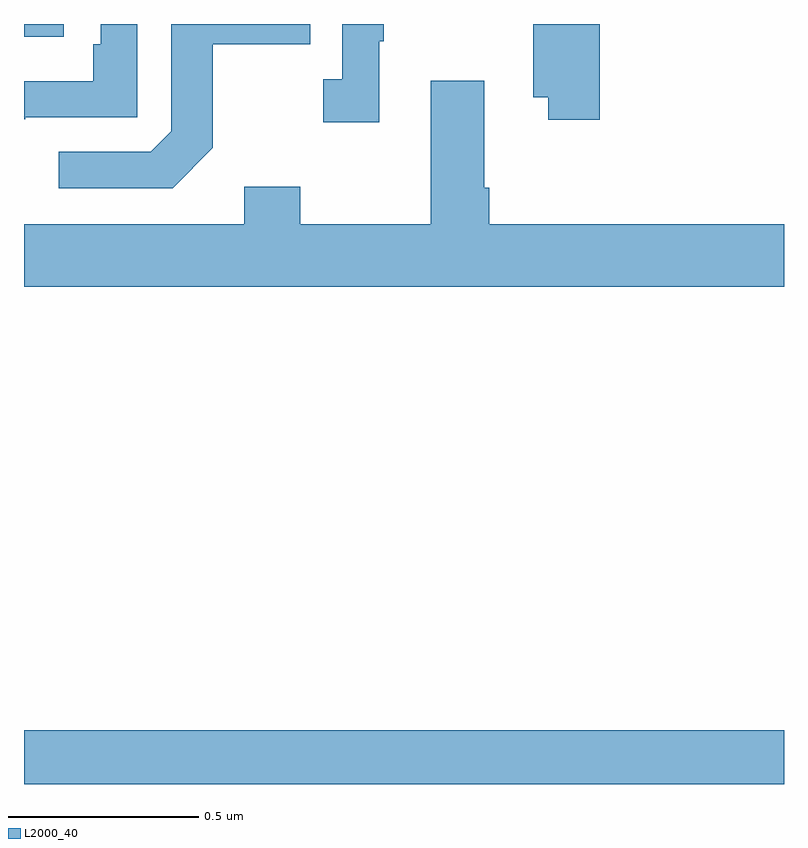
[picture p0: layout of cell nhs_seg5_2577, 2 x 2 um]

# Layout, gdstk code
import gdstk
lib = gdstk.Library(unit=1e-6, precision=1e-09)
def R(c, l, rs):  # rectangles x0, y0, x1, y1
    for r in rs: c.add(gdstk.rectangle(r[:2], r[2:], *l))
def P(c, l, *ps):  # polygons
    for p in ps: c.add(gdstk.Polygon(p, *l))
L2000_40 = (2000, 40)

nhs_seg5_2577 = lib.new_cell('nhs_seg5_2577')
R(nhs_seg5_2577, L2000_40, [(146,840.799,148,840.94), (146,842.766,146.104,842.799)])
P(nhs_seg5_2577, L2000_40, [(147.515,842.799),(147.34,842.799),(147.34,842.606),(147.38,842.606),(147.38,842.547),(147.515,842.547)],
  [(146.935,842.753),(146.947,842.753),(146.947,842.799),(146.838,842.799),(146.838,842.654),(146.787,842.654),(146.787,842.541),(146.935,842.541)],
  [(146.003,842.553),(146.298,842.553),(146.298,842.799),(146.202,842.799),(146.202,842.746),(146.182,842.746),(146.182,842.649),(146,842.649),(146,842.548),(146.003,842.548)],
  [(146.497,842.473),(146.497,842.746),(146.753,842.746),(146.753,842.799),(146.388,842.799),(146.388,842.517),(146.334,842.463),(146.091,842.463),(146.091,842.367),(146.391,842.367)],
  [(146.579,842.371),(146.579,842.272),(146,842.272),(146,842.108),(148,842.108),(148,842.272),(147.224,842.272),(147.224,842.368),(147.211,842.368),(147.211,842.65),(147.071,842.65),(147.071,842.272),(146.727,842.272),(146.727,842.371)])

lib.write_gds('nhs_seg5_2577.gds')
